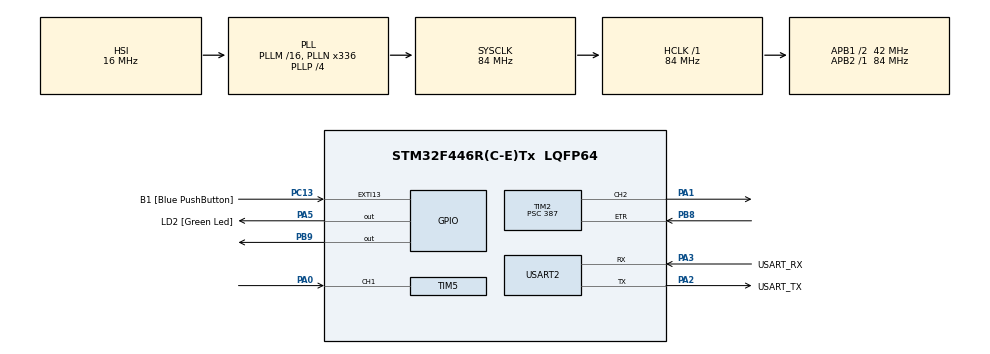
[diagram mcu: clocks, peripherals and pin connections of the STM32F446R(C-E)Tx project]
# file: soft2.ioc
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Mcu.Family=STM32F4
Mcu.Name=STM32F446R(C-E)Tx
Mcu.Package=LQFP64
NVIC.PriorityGroup=NVIC_PRIORITYGROUP_0
NVIC.TIM1_TRG_COM_TIM11_IRQn=true\:0\:0\:false\:false\:true\:true\:true\:true
NVIC.TIM1_UP_TIM10_IRQn=true\:0\:0\:false\:false\:true\:true\:true\:true
NVIC.TIM2_IRQn=true\:0\:0\:false\:false\:true\:true\:true\:true
NVIC.TIM3_IRQn=true\:0\:0\:false\:false\:true\:true\:true\:true
NVIC.TIM5_IRQn=true\:0\:0\:false\:false\:true\:true\:true\:true
PA0-WKUP.Signal=S_TIM5_CH1
PA1.Signal=S_TIM2_CH2
PA13.GPIO_Label=TMS
PA13.Signal=SYS_JTMS-SWDIO
PA14.GPIO_Label=TCK
PA14.Signal=SYS_JTCK-SWCLK
PA2.GPIO_Label=USART_TX
PA2.Mode=Asynchronous
PA2.Signal=USART2_TX
PA3.GPIO_Label=USART_RX
PA3.Mode=Asynchronous
PA3.Signal=USART2_RX
PA5.GPIO_Label=LD2 [Green Led]
PA5.Signal=GPIO_Output
PB3.GPIO_Label=SWO
PB3.Signal=SYS_JTDO-SWO
PB8.Signal=S_TIM2_CH1_ETR
PB9.Signal=GPIO_Output
PC13.GPIO_Label=B1 [Blue PushButton]
PC13.GPIO_ModeDefaultEXTI=GPIO_MODE_IT_FALLING
PC13.Signal=GPXTI13
PC14-OSC32_IN.Signal=RCC_OSC32_IN
PC15-OSC32_OUT.Signal=RCC_OSC32_OUT
PH0-OSC_IN.Signal=RCC_OSC_IN
PH1-OSC_OUT.Signal=RCC_OSC_OUT
ProjectManager.HeapSize=0x200
ProjectManager.StackSize=0x400
ProjectManager.TargetToolchain=STM32CubeIDE
RCC.AHBFreq_Value=84000000
RCC.APB1CLKDivider=RCC_HCLK_DIV2
RCC.APB1Freq_Value=42000000
RCC.APB1TimFreq_Value=84000000
RCC.APB2Freq_Value=84000000
RCC.APB2TimFreq_Value=84000000
RCC.CortexFreq_Value=84000000
RCC.FLatency-AdvancedSettings=FLASH_LATENCY_2
RCC.HCLKFreq_Value=84000000
RCC.HSE_VALUE=8000000
RCC.HSI_VALUE=16000000
RCC.LSE_VALUE=32768
RCC.PLLN=336
RCC.PLLP=RCC_PLLP_DIV4
RCC.SYSCLKFreq_VALUE=84000000
RCC.SYSCLKSource=RCC_SYSCLKSOURCE_PLLCLK
RCC.USBFreq_Value=168000000
RCC.VCOOutputFreq_Value=336000000
SH.S_TIM2_CH1_ETR.0=TIM2_ETR,TriggerSource_ETR
SH.S_TIM2_CH2.0=TIM2_CH2,Output Compare2 CH2
SH.S_TIM5_CH1.0=TIM5_CH1,Input_Capture1_from_TI1
TIM10.Period=9999
TIM10.Prescaler=4199
TIM11.Period=999
TIM11.Prescaler=349
TIM2.Channel-Output\ Compare2\ CH2=TIM_CHANNEL_2
TIM2.ClockDivision=TIM_CLOCKDIVISION_DIV1
TIM2.OCMode_2=TIM_OCMODE_TOGGLE
TIM2.Period=1799
TIM2.Prescaler=387
TIM3.AutoReloadPreload=TIM_AUTORELOAD_PRELOAD_ENABLE
TIM3.Period=9999
TIM3.Prescaler=8399
TIM3.TIM_MasterOutputTrigger=TIM_TRGO_RESET
TIM5.AutoReloadPreload=TIM_AUTORELOAD_PRELOAD_ENABLE
TIM5.Channel-Input_Capture1_from_TI1=TIM_CHANNEL_1
TIM5.ICPolarity_CH1=TIM_INPUTCHANNELPOLARITY_BOTHEDGE
TIM5.Prescaler=83
USART2.VirtualMode=VM_ASYNC
VP_TIM10_VS_ClockSourceINT.Mode=Enable_Timer
VP_TIM11_VS_ClockSourceINT.Mode=Enable_Timer
VP_TIM2_VS_ControllerModeTrigger.Mode=Trigger Mode
VP_TIM2_VS_OPM.Mode=OPM_bit
VP_TIM3_VS_ClockSourceINT.Mode=Internal
VP_TIM5_VS_ClockSourceINT.Mode=Internal
board=NUCLEO-F446RE

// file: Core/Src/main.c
/* USER CODE BEGIN Header */
/**
  ******************************************************************************
  * @file           : main.c
  * @brief          : Main program body
  ******************************************************************************
  * @attention
  *
  * Copyright (c) 2024 STMicroelectronics.
  * All rights reserved.
  *
  * This software is licensed under terms that can be found in the LICENSE file
  * in the root directory of this software component.
  * If no LICENSE file comes with this software, it is provided AS-IS.
  *
  ******************************************************************************
  */
/* USER CODE END Header */
#include "main.h"

/* USER CODE BEGIN Includes */
#include <string.h>
#include <stdio.h>
/* USER CODE END Includes */

/* USER CODE BEGIN PTD */
#define msgSIZE 100 // tamanho da string
#define TIMEOUT_SERIAL 100
/* USER CODE END PTD */

TIM_HandleTypeDef htim2;
TIM_HandleTypeDef htim3;
TIM_HandleTypeDef htim5;
TIM_HandleTypeDef htim10;
TIM_HandleTypeDef htim11;

UART_HandleTypeDef huart2;

/* USER CODE BEGIN PV */
uint16_t angulo = 179;
uint16_t Tempo_UP = 20;
uint16_t Tempo_DOWN = 20;
uint32_t arr = 0;
uint8_t estado3 = 0;
uint16_t pulso[2] = {1000, 1789};
enum{SOBE=0,DESCE};

float periodo; //periodo do sinal medido
float borda[3] ={0,0,0}; // tempo de cada borda do sinal
enum TBORDAS {subida = 0, descida = 1, atual }; // quem é quem nas bordas [0,1]
uint8_t msg[msgSIZE];
float frequencia = 0;
float dutycicle = 0;
/* USER CODE END PV */

void SystemClock_Config(void);
static void MX_GPIO_Init(void);
static void MX_TIM2_Init(void);
static void MX_TIM3_Init(void);
static void MX_TIM10_Init(void);
static void MX_USART2_UART_Init(void);
static void MX_TIM5_Init(void);
static void MX_TIM11_Init(void);

int main(void)
{

  /* USER CODE BEGIN 1 */
	arr = ((84000000*Tempo_UP/179)/8399);
  /* USER CODE END 1 */

  /* MCU Configuration--------------------------------------------------------*/

  /* Reset of all peripherals, Initializes the Flash interface and the Systick. */
  HAL_Init();

  /* Configure the system clock */
  SystemClock_Config();

  /* Initialize all configured peripherals */
  MX_GPIO_Init();
  MX_TIM2_Init();
  MX_TIM3_Init();
  MX_TIM10_Init();
  MX_USART2_UART_Init();
  MX_TIM5_Init();
  MX_TIM11_Init();
  /* USER CODE BEGIN 2 */

  HAL_TIM_Base_Start_IT(&htim3);
  HAL_TIM_Base_Start_IT(&htim10);
  HAL_TIM_Base_Start_IT(&htim11);
  HAL_TIM_OC_Start_IT(&htim2, TIM_CHANNEL_2);
  HAL_TIM_IC_Start_IT(&htim5, TIM_CHANNEL_1); // INPUT CAPTURE

  strncpy(msg, "MEDIDOR DE SINAIS \n\r", msgSIZE);
  HAL_UART_Transmit(&huart2, msg, strlen(msg), TIMEOUT_SERIAL);

  __HAL_TIM_SET_COMPARE(&htim2, TIM_CHANNEL_2, pulso[SOBE]);				// Configurando o ccr inicial pro tempo de subida
  estado3=DESCE;
  htim2.Instance->CCMR1 |= TIM_CCMR1_OC2CE;								// Ajuda a evitar pulsos invertidos

  /* USER CODE END 2 */

  /* Infinite loop */
  while (1)
  {

  }
}

void SystemClock_Config(void)
{
  RCC_OscInitTypeDef RCC_OscInitStruct = {0};
  RCC_ClkInitTypeDef RCC_ClkInitStruct = {0};

  /** Configure the main internal regulator output voltage
  */
  __HAL_RCC_PWR_CLK_ENABLE();
  __HAL_PWR_VOLTAGESCALING_CONFIG(PWR_REGULATOR_VOLTAGE_SCALE3);

  /** Initializes the RCC Oscillators according to the specified parameters
  * in the RCC_OscInitTypeDef structure.
  */
  RCC_OscInitStruct.OscillatorType = RCC_OSCILLATORTYPE_HSI;
  RCC_OscInitStruct.HSIState = RCC_HSI_ON;
  RCC_OscInitStruct.HSICalibrationValue = RCC_HSICALIBRATION_DEFAULT;
  RCC_OscInitStruct.PLL.PLLState = RCC_PLL_ON;
  RCC_OscInitStruct.PLL.PLLSource = RCC_PLLSOURCE_HSI;
  RCC_OscInitStruct.PLL.PLLM = 16;
  RCC_OscInitStruct.PLL.PLLN = 336;
  RCC_OscInitStruct.PLL.PLLP = RCC_PLLP_DIV4;
  RCC_OscInitStruct.PLL.PLLQ = 2;
  RCC_OscInitStruct.PLL.PLLR = 2;
  if (HAL_RCC_OscConfig(&RCC_OscInitStruct) != HAL_OK)
  {
    Error_Handler();
  }

  /** Initializes the CPU, AHB and APB buses clocks
  */
  RCC_ClkInitStruct.ClockType = RCC_CLOCKTYPE_HCLK|RCC_CLOCKTYPE_SYSCLK
                              |RCC_CLOCKTYPE_PCLK1|RCC_CLOCKTYPE_PCLK2;
  RCC_ClkInitStruct.SYSCLKSource = RCC_SYSCLKSOURCE_PLLCLK;
  RCC_ClkInitStruct.AHBCLKDivider = RCC_SYSCLK_DIV1;
  RCC_ClkInitStruct.APB1CLKDivider = RCC_HCLK_DIV2;
  RCC_ClkInitStruct.APB2CLKDivider = RCC_HCLK_DIV1;

  if (HAL_RCC_ClockConfig(&RCC_ClkInitStruct, FLASH_LATENCY_2) != HAL_OK)
  {
    Error_Handler();
  }
}

static void MX_TIM2_Init(void)
{

  TIM_SlaveConfigTypeDef sSlaveConfig = {0};
  TIM_MasterConfigTypeDef sMasterConfig = {0};
  TIM_OC_InitTypeDef sConfigOC = {0};

  htim2.Instance = TIM2;
  htim2.Init.Prescaler = 387;
  htim2.Init.CounterMode = TIM_COUNTERMODE_UP;
  htim2.Init.Period = 1799;
  htim2.Init.ClockDivision = TIM_CLOCKDIVISION_DIV1;
  htim2.Init.AutoReloadPreload = TIM_AUTORELOAD_PRELOAD_DISABLE;
  if (HAL_TIM_Base_Init(&htim2) != HAL_OK)
  {
    Error_Handler();
  }
  if (HAL_TIM_OC_Init(&htim2) != HAL_OK)
  {
    Error_Handler();
  }
  if (HAL_TIM_OnePulse_Init(&htim2, TIM_OPMODE_SINGLE) != HAL_OK)
  {
    Error_Handler();
  }
  sSlaveConfig.SlaveMode = TIM_SLAVEMODE_TRIGGER;
  sSlaveConfig.InputTrigger = TIM_TS_ETRF;
  sSlaveConfig.TriggerPolarity = TIM_TRIGGERPOLARITY_NONINVERTED;
  sSlaveConfig.TriggerPrescaler = TIM_TRIGGERPRESCALER_DIV1;
  sSlaveConfig.TriggerFilter = 0;
  if (HAL_TIM_SlaveConfigSynchro(&htim2, &sSlaveConfig) != HAL_OK)
  {
    Error_Handler();
  }
  sMasterConfig.MasterOutputTrigger = TIM_TRGO_RESET;
  sMasterConfig.MasterSlaveMode = TIM_MASTERSLAVEMODE_DISABLE;
  if (HAL_TIMEx_MasterConfigSynchronization(&htim2, &sMasterConfig) != HAL_OK)
  {
    Error_Handler();
  }
  sConfigOC.OCMode = TIM_OCMODE_TOGGLE;
  sConfigOC.Pulse = 0;
  sConfigOC.OCPolarity = TIM_OCPOLARITY_HIGH;
  sConfigOC.OCFastMode = TIM_OCFAST_DISABLE;
  if (HAL_TIM_OC_ConfigChannel(&htim2, &sConfigOC, TIM_CHANNEL_2) != HAL_OK)
  {
    Error_Handler();
  }
  HAL_TIM_MspPostInit(&htim2);

}

static void MX_TIM3_Init(void)
{

  TIM_ClockConfigTypeDef sClockSourceConfig = {0};
  TIM_MasterConfigTypeDef sMasterConfig = {0};

  htim3.Instance = TIM3;
  htim3.Init.Prescaler = 8399;
  htim3.Init.CounterMode = TIM_COUNTERMODE_UP;
  htim3.Init.Period = 9999;
  htim3.Init.ClockDivision = TIM_CLOCKDIVISION_DIV1;
  htim3.Init.AutoReloadPreload = TIM_AUTORELOAD_PRELOAD_ENABLE;
  if (HAL_TIM_Base_Init(&htim3) != HAL_OK)
  {
    Error_Handler();
  }
  sClockSourceConfig.ClockSource = TIM_CLOCKSOURCE_INTERNAL;
  if (HAL_TIM_ConfigClockSource(&htim3, &sClockSourceConfig) != HAL_OK)
  {
    Error_Handler();
  }
  sMasterConfig.MasterOutputTrigger = TIM_TRGO_RESET;
  sMasterConfig.MasterSlaveMode = TIM_MASTERSLAVEMODE_DISABLE;
  if (HAL_TIMEx_MasterConfigSynchronization(&htim3, &sMasterConfig) != HAL_OK)
  {
    Error_Handler();
  }

}

static void MX_TIM5_Init(void)
{

  TIM_ClockConfigTypeDef sClockSourceConfig = {0};
  TIM_MasterConfigTypeDef sMasterConfig = {0};
  TIM_IC_InitTypeDef sConfigIC = {0};

  htim5.Instance = TIM5;
  htim5.Init.Prescaler = 83;
  htim5.Init.CounterMode = TIM_COUNTERMODE_UP;
  htim5.Init.Period = 4294967295;
  htim5.Init.ClockDivision = TIM_CLOCKDIVISION_DIV1;
  htim5.Init.AutoReloadPreload = TIM_AUTORELOAD_PRELOAD_ENABLE;
  if (HAL_TIM_Base_Init(&htim5) != HAL_OK)
  {
    Error_Handler();
  }
  sClockSourceConfig.ClockSource = TIM_CLOCKSOURCE_INTERNAL;
  if (HAL_TIM_ConfigClockSource(&htim5, &sClockSourceConfig) != HAL_OK)
  {
    Error_Handler();
  }
  if (HAL_TIM_IC_Init(&htim5) != HAL_OK)
  {
    Error_Handler();
  }
  sMasterConfig.MasterOutputTrigger = TIM_TRGO_RESET;
  sMasterConfig.MasterSlaveMode = TIM_MASTERSLAVEMODE_DISABLE;
  if (HAL_TIMEx_MasterConfigSynchronization(&htim5, &sMasterConfig) != HAL_OK)
  {
    Error_Handler();
  }
  sConfigIC.ICPolarity = TIM_INPUTCHANNELPOLARITY_BOTHEDGE;
  sConfigIC.ICSelection = TIM_ICSELECTION_DIRECTTI;
  sConfigIC.ICPrescaler = TIM_ICPSC_DIV1;
  sConfigIC.ICFilter = 0;
  if (HAL_TIM_IC_ConfigChannel(&htim5, &sConfigIC, TIM_CHANNEL_1) != HAL_OK)
  {
    Error_Handler();
  }

}

static void MX_TIM10_Init(void)
{

  htim10.Instance = TIM10;
  htim10.Init.Prescaler = 4199;
  htim10.Init.CounterMode = TIM_COUNTERMODE_UP;
  htim10.Init.Period = 9999;
  htim10.Init.ClockDivision = TIM_CLOCKDIVISION_DIV1;
  htim10.Init.AutoReloadPreload = TIM_AUTORELOAD_PRELOAD_DISABLE;
  if (HAL_TIM_Base_Init(&htim10) != HAL_OK)
  {
    Error_Handler();
  }

}

static void MX_TIM11_Init(void)
{

  htim11.Instance = TIM11;
  htim11.Init.Prescaler = 349;
  htim11.Init.CounterMode = TIM_COUNTERMODE_UP;
  htim11.Init.Period = 999;
  htim11.Init.ClockDivision = TIM_CLOCKDIVISION_DIV1;
  htim11.Init.AutoReloadPreload = TIM_AUTORELOAD_PRELOAD_DISABLE;
  if (HAL_TIM_Base_Init(&htim11) != HAL_OK)
  {
    Error_Handler();
  }

}

static void MX_USART2_UART_Init(void)
{

  huart2.Instance = USART2;
  huart2.Init.BaudRate = 115200;
  huart2.Init.WordLength = UART_WORDLENGTH_8B;
  huart2.Init.StopBits = UART_STOPBITS_1;
  huart2.Init.Parity = UART_PARITY_NONE;
  huart2.Init.Mode = UART_MODE_TX_RX;
  huart2.Init.HwFlowCtl = UART_HWCONTROL_NONE;
  huart2.Init.OverSampling = UART_OVERSAMPLING_16;
  if (HAL_UART_Init(&huart2) != HAL_OK)
  {
    Error_Handler();
  }

}

static void MX_GPIO_Init(void)
{
  GPIO_InitTypeDef GPIO_InitStruct = {0};

  /* GPIO Ports Clock Enable */
  __HAL_RCC_GPIOC_CLK_ENABLE();
  __HAL_RCC_GPIOH_CLK_ENABLE();
  __HAL_RCC_GPIOA_CLK_ENABLE();
  __HAL_RCC_GPIOB_CLK_ENABLE();

  /*Configure GPIO pin Output Level */
  HAL_GPIO_WritePin(LD2_GPIO_Port, LD2_Pin, GPIO_PIN_RESET);

  /*Configure GPIO pin Output Level */
  HAL_GPIO_WritePin(GPIOB, GPIO_PIN_9, GPIO_PIN_RESET);

  /*Configure GPIO pin : B1_Pin */
  GPIO_InitStruct.Pin = B1_Pin;
  GPIO_InitStruct.Mode = GPIO_MODE_IT_FALLING;
  GPIO_InitStruct.Pull = GPIO_NOPULL;
  HAL_GPIO_Init(B1_GPIO_Port, &GPIO_InitStruct);

  /*Configure GPIO pin : LD2_Pin */
  GPIO_InitStruct.Pin = LD2_Pin;
  GPIO_InitStruct.Mode = GPIO_MODE_OUTPUT_PP;
  GPIO_InitStruct.Pull = GPIO_NOPULL;
  GPIO_InitStruct.Speed = GPIO_SPEED_FREQ_LOW;
  HAL_GPIO_Init(LD2_GPIO_Port, &GPIO_InitStruct);

  /*Configure GPIO pin : PB9 */
  GPIO_InitStruct.Pin = GPIO_PIN_9;
  GPIO_InitStruct.Mode = GPIO_MODE_OUTPUT_PP;
  GPIO_InitStruct.Pull = GPIO_NOPULL;
  GPIO_InitStruct.Speed = GPIO_SPEED_FREQ_LOW;
  HAL_GPIO_Init(GPIOB, &GPIO_InitStruct);

}

/* USER CODE BEGIN 4 */
void HAL_TIM_IC_CaptureCallback(TIM_HandleTypeDef *htim){ //o htim faz referencia ao htim5 pois nao tem mais nenhum outro
	if(htim==&htim5)
			{
	borda[subida] = borda[descida];
	borda[descida] = borda[atual];
	borda[atual] = __HAL_TIM_GET_COMPARE(htim, TIM_CHANNEL_1);
	periodo = borda[atual] - borda[subida];

	double Periodo_Em_Segundos = periodo/1000000.0; //nescessario para calcular a frequencia 1/s
	frequencia = 1.00/Periodo_Em_Segundos; //frequuencia em hz's

	float CicloAtivo = (borda[descida] - borda[subida]) * 100; //como se fosse fazer uma regra de tres
	dutycicle = CicloAtivo/periodo; // periodo ativo do sinal
			}
	}

void HAL_TIM_OC_DelayElapsedCallback(TIM_HandleTypeDef *htim)
{
	if(htim->Channel==HAL_TIM_ACTIVE_CHANNEL_2)
	{
		__HAL_TIM_SET_COMPARE(&htim2, TIM_CHANNEL_2, pulso[estado3]);

		if(estado3==DESCE) 													// Se está na borda de descida...
			{
				estado3=SOBE;														// Deve subir
			}
			else{																// Caso contrário...				{
				estado3=DESCE;													// Deve descer
			}
	}
}

void HAL_TIM_PeriodElapsedCallback(TIM_HandleTypeDef *htim){
	if(htim==&htim3)
		{
		__HAL_TIM_SET_AUTORELOAD(&htim3, arr);

			pulso[0] = angulo*10;
			if(angulo == 20){
			}else {
				angulo--;
			}

		}
	if(htim==&htim11){
		HAL_GPIO_TogglePin(GPIOB, GPIO_PIN_9);
	}
	if (htim==&htim10)
		{
			snprintf(msg, msgSIZE, "Borda de subida: %.1f | Borda de descida: %.1f | Borda atual %.1f\r\n", borda[subida], borda[descida], borda[atual]);
			HAL_UART_Transmit(&huart2, msg, strlen(msg), TIMEOUT_SERIAL);
			snprintf(msg, msgSIZE, "Periodo: %.2f us | Frequencia: %.2f\r\n", periodo, frequencia);
			HAL_UART_Transmit(&huart2, msg, strlen(msg), TIMEOUT_SERIAL);
			snprintf(msg, msgSIZE, "Dutycicle: %.2f%% \r\n", dutycicle);
			HAL_UART_Transmit(&huart2, msg, strlen(msg), TIMEOUT_SERIAL);
		}
}

/* USER CODE END 4 */

void Error_Handler(void)
{
  __disable_irq();
  while (1)
  {
  }
}
